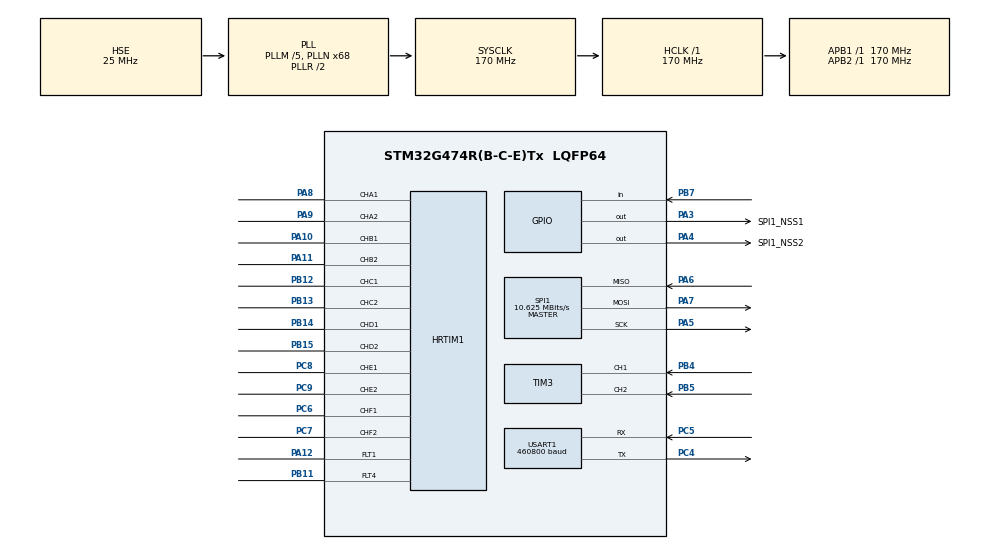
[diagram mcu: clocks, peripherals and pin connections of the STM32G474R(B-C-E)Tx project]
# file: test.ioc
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Dma.Request0=SPI1_RX
Dma.Request1=SPI1_TX
Dma.Request2=USART1_RX
Dma.Request3=USART1_TX
Dma.SPI1_RX.0.Direction=DMA_PERIPH_TO_MEMORY
Dma.SPI1_RX.0.EventEnable=DISABLE
Dma.SPI1_RX.0.Instance=DMA1_Channel1
Dma.SPI1_RX.0.MemDataAlignment=DMA_MDATAALIGN_BYTE
Dma.SPI1_RX.0.MemInc=DMA_MINC_ENABLE
Dma.SPI1_RX.0.Mode=DMA_NORMAL
Dma.SPI1_RX.0.PeriphDataAlignment=DMA_PDATAALIGN_BYTE
Dma.SPI1_RX.0.PeriphInc=DMA_PINC_DISABLE
Dma.SPI1_RX.0.Polarity=HAL_DMAMUX_REQ_GEN_RISING
Dma.SPI1_RX.0.Priority=DMA_PRIORITY_MEDIUM
Dma.SPI1_RX.0.RequestNumber=1
Dma.SPI1_RX.0.SignalID=NONE
Dma.SPI1_RX.0.SyncEnable=DISABLE
Dma.SPI1_RX.0.SyncPolarity=HAL_DMAMUX_SYNC_NO_EVENT
Dma.SPI1_RX.0.SyncRequestNumber=1
Dma.SPI1_RX.0.SyncSignalID=NONE
Dma.SPI1_TX.1.Direction=DMA_MEMORY_TO_PERIPH
Dma.SPI1_TX.1.EventEnable=DISABLE
Dma.SPI1_TX.1.Instance=DMA1_Channel2
Dma.SPI1_TX.1.MemDataAlignment=DMA_MDATAALIGN_BYTE
Dma.SPI1_TX.1.MemInc=DMA_MINC_ENABLE
Dma.SPI1_TX.1.Mode=DMA_NORMAL
Dma.SPI1_TX.1.PeriphDataAlignment=DMA_PDATAALIGN_BYTE
Dma.SPI1_TX.1.PeriphInc=DMA_PINC_DISABLE
Dma.SPI1_TX.1.Polarity=HAL_DMAMUX_REQ_GEN_RISING
Dma.SPI1_TX.1.Priority=DMA_PRIORITY_MEDIUM
Dma.SPI1_TX.1.RequestNumber=1
Dma.SPI1_TX.1.SignalID=NONE
Dma.SPI1_TX.1.SyncEnable=DISABLE
Dma.SPI1_TX.1.SyncPolarity=HAL_DMAMUX_SYNC_NO_EVENT
Dma.SPI1_TX.1.SyncRequestNumber=1
Dma.SPI1_TX.1.SyncSignalID=NONE
Dma.USART1_RX.2.Direction=DMA_PERIPH_TO_MEMORY
Dma.USART1_RX.2.EventEnable=DISABLE
Dma.USART1_RX.2.Instance=DMA1_Channel4
Dma.USART1_RX.2.MemDataAlignment=DMA_MDATAALIGN_BYTE
Dma.USART1_RX.2.MemInc=DMA_MINC_ENABLE
Dma.USART1_RX.2.Mode=DMA_NORMAL
Dma.USART1_RX.2.PeriphDataAlignment=DMA_PDATAALIGN_BYTE
Dma.USART1_RX.2.PeriphInc=DMA_PINC_DISABLE
Dma.USART1_RX.2.Polarity=HAL_DMAMUX_REQ_GEN_RISING
Dma.USART1_RX.2.Priority=DMA_PRIORITY_LOW
Dma.USART1_RX.2.RequestNumber=1
Dma.USART1_RX.2.SignalID=NONE
Dma.USART1_RX.2.SyncEnable=DISABLE
Dma.USART1_RX.2.SyncPolarity=HAL_DMAMUX_SYNC_NO_EVENT
Dma.USART1_RX.2.SyncRequestNumber=1
Dma.USART1_RX.2.SyncSignalID=NONE
Dma.USART1_TX.3.Direction=DMA_MEMORY_TO_PERIPH
Dma.USART1_TX.3.EventEnable=DISABLE
Dma.USART1_TX.3.Instance=DMA1_Channel5
Dma.USART1_TX.3.MemDataAlignment=DMA_MDATAALIGN_BYTE
Dma.USART1_TX.3.MemInc=DMA_MINC_ENABLE
Dma.USART1_TX.3.Mode=DMA_NORMAL
Dma.USART1_TX.3.PeriphDataAlignment=DMA_PDATAALIGN_BYTE
Dma.USART1_TX.3.PeriphInc=DMA_PINC_DISABLE
Dma.USART1_TX.3.Polarity=HAL_DMAMUX_REQ_GEN_RISING
Dma.USART1_TX.3.Priority=DMA_PRIORITY_LOW
Dma.USART1_TX.3.RequestNumber=1
Dma.USART1_TX.3.SignalID=NONE
Dma.USART1_TX.3.SyncEnable=DISABLE
Dma.USART1_TX.3.SyncPolarity=HAL_DMAMUX_SYNC_NO_EVENT
Dma.USART1_TX.3.SyncRequestNumber=1
Dma.USART1_TX.3.SyncSignalID=NONE
HRTIM1.CompareUnit1-Output_TA1TA2=HRTIM_COMPAREUNIT_1
HRTIM1.CompareUnit1-Output_TB1TB2=HRTIM_COMPAREUNIT_1
HRTIM1.CompareUnit1-Output_TC1TC2=HRTIM_COMPAREUNIT_1
HRTIM1.CompareUnit1-Output_TD1TD2=HRTIM_COMPAREUNIT_1
HRTIM1.CompareUnit1-Output_TE1TE2=HRTIM_COMPAREUNIT_1
HRTIM1.CompareUnit1-Output_TF1TF2=HRTIM_COMPAREUNIT_1
HRTIM1.DeadTimeInsertion-Output_TA1TA2=HRTIM_TIMDEADTIMEINSERTION_ENABLED
HRTIM1.DeadTimeInsertion-Output_TB1TB2=HRTIM_TIMDEADTIMEINSERTION_ENABLED
HRTIM1.DeadTimeInsertion-Output_TC1TC2=HRTIM_TIMDEADTIMEINSERTION_ENABLED
HRTIM1.DeadTimeInsertion-Output_TD1TD2=HRTIM_TIMDEADTIMEINSERTION_ENABLED
HRTIM1.DeadTimeInsertion-Output_TE1TE2=HRTIM_TIMDEADTIMEINSERTION_ENABLED
HRTIM1.DeadTimeInsertion-Output_TF1TF2=HRTIM_TIMDEADTIMEINSERTION_ENABLED
HRTIM1.Deadtimeconfig-Output_TB1TB2=HRTIM_TIMERINDEX_TIMER_B
HRTIM1.FallingValue-Output_TA1TA2=272
HRTIM1.FallingValue-Output_TB1TB2=272
HRTIM1.FallingValue-Output_TC1TC2=272
HRTIM1.FallingValue-Output_TD1TD2=272
HRTIM1.FallingValue-Output_TE1TE2=272
HRTIM1.FallingValue-Output_TF1TF2=272
HRTIM1.NumberResetSource1-Output_TA1TA2=1
HRTIM1.NumberResetSource1-Output_TB1TB2=1
HRTIM1.NumberResetSource1-Output_TC1TC2=1
HRTIM1.NumberResetSource1-Output_TD1TD2=1
HRTIM1.NumberResetSource1-Output_TE1TE2=1
HRTIM1.NumberResetSource1-Output_TF1TF2=1
HRTIM1.NumberSetSource1-Output_TA1TA2=1
HRTIM1.NumberSetSource1-Output_TB1TB2=1
HRTIM1.NumberSetSource1-Output_TC1TC2=1
HRTIM1.NumberSetSource1-Output_TD1TD2=1
HRTIM1.NumberSetSource1-Output_TE1TE2=1
HRTIM1.NumberSetSource1-Output_TF1TF2=1
HRTIM1.Periode_TA=34000
HRTIM1.Periode_TB=34000
HRTIM1.Periode_TC=34000
HRTIM1.Periode_TD=34000
HRTIM1.Periode_TE=34000
HRTIM1.Periode_TF=34000
HRTIM1.PreloadEnable-Output_TA1TA2=HRTIM_PRELOAD_ENABLED
HRTIM1.PreloadEnable-Output_TB1TB2=HRTIM_PRELOAD_ENABLED
HRTIM1.PreloadEnable-Output_TC1TC2=HRTIM_PRELOAD_ENABLED
HRTIM1.PreloadEnable-Output_TD1TD2=HRTIM_PRELOAD_ENABLED
HRTIM1.PreloadEnable-Output_TE1TE2=HRTIM_PRELOAD_ENABLED
HRTIM1.PreloadEnable-Output_TF1TF2=HRTIM_PRELOAD_ENABLED
HRTIM1.PrescalerRatio_TA=HRTIM_PRESCALERRATIO_MUL4
HRTIM1.PrescalerRatio_TB=HRTIM_PRESCALERRATIO_MUL4
HRTIM1.PrescalerRatio_TC=HRTIM_PRESCALERRATIO_MUL4
HRTIM1.PrescalerRatio_TD=HRTIM_PRESCALERRATIO_MUL4
HRTIM1.PrescalerRatio_TE=HRTIM_PRESCALERRATIO_MUL4
HRTIM1.PrescalerRatio_TF=HRTIM_PRESCALERRATIO_MUL4
HRTIM1.RepetitionUpdate-Output_TA1TA2=HRTIM_UPDATEONREPETITION_ENABLED
HRTIM1.RepetitionUpdate-Output_TB1TB2=HRTIM_UPDATEONREPETITION_ENABLED
HRTIM1.RepetitionUpdate-Output_TC1TC2=HRTIM_UPDATEONREPETITION_ENABLED
HRTIM1.RepetitionUpdate-Output_TD1TD2=HRTIM_UPDATEONREPETITION_ENABLED
HRTIM1.RepetitionUpdate-Output_TE1TE2=HRTIM_UPDATEONREPETITION_ENABLED
HRTIM1.RepetitionUpdate-Output_TF1TF2=HRTIM_UPDATEONREPETITION_ENABLED
HRTIM1.ResetOutput1_Source1-Output_TA1TA2=HRTIM_OUTPUTRESET_TIMCMP1
HRTIM1.ResetOutput1_Source1-Output_TB1TB2=HRTIM_OUTPUTRESET_TIMCMP1
HRTIM1.ResetOutput1_Source1-Output_TC1TC2=HRTIM_OUTPUTRESET_TIMCMP1
HRTIM1.ResetOutput1_Source1-Output_TD1TD2=HRTIM_OUTPUTRESET_TIMCMP1
HRTIM1.ResetOutput1_Source1-Output_TE1TE2=HRTIM_OUTPUTRESET_TIMCMP1
HRTIM1.ResetOutput1_Source1-Output_TF1TF2=HRTIM_OUTPUTRESET_TIMCMP1
HRTIM1.RisingValue-Output_TA1TA2=272
HRTIM1.RisingValue-Output_TB1TB2=272
HRTIM1.RisingValue-Output_TC1TC2=272
HRTIM1.RisingValue-Output_TD1TD2=272
HRTIM1.RisingValue-Output_TE1TE2=272
HRTIM1.RisingValue-Output_TF1TF2=272
HRTIM1.SetOutput1_Source1-Output_TA1TA2=HRTIM_OUTPUTSET_TIMPER
HRTIM1.SetOutput1_Source1-Output_TB1TB2=HRTIM_OUTPUTSET_TIMPER
HRTIM1.SetOutput1_Source1-Output_TC1TC2=HRTIM_OUTPUTSET_TIMPER
HRTIM1.SetOutput1_Source1-Output_TD1TD2=HRTIM_OUTPUTSET_TIMPER
HRTIM1.SetOutput1_Source1-Output_TE1TE2=HRTIM_OUTPUTSET_TIMPER
HRTIM1.SetOutput1_Source1-Output_TF1TF2=HRTIM_OUTPUTSET_TIMPER
Mcu.Family=STM32G4
Mcu.Name=STM32G474R(B-C-E)Tx
Mcu.Package=LQFP64
NVIC.DMA1_Channel1_IRQn=true\:0\:0\:false\:false\:true\:false\:true\:true
NVIC.DMA1_Channel2_IRQn=true\:0\:0\:false\:false\:true\:false\:true\:true
NVIC.DMA1_Channel4_IRQn=true\:9\:0\:true\:false\:true\:false\:true\:true
NVIC.DMA1_Channel5_IRQn=true\:9\:0\:true\:false\:true\:false\:true\:true
NVIC.HRTIM1_TIMA_IRQn=true\:0\:0\:false\:false\:true\:true\:true\:true
NVIC.HRTIM1_TIMD_IRQn=true\:0\:0\:false\:false\:true\:true\:true\:true
NVIC.PriorityGroup=NVIC_PRIORITYGROUP_4
NVIC.TIM1_TRG_COM_TIM17_IRQn=true\:1\:0\:true\:false\:true\:true\:true\:true
NVIC.TIM3_IRQn=true\:5\:0\:true\:false\:true\:true\:true\:true
NVIC.TIM8_UP_IRQn=true\:10\:0\:true\:false\:true\:true\:true\:true
NVIC.USART1_IRQn=true\:6\:0\:true\:false\:true\:true\:true\:true
PA10.Mode=Output_TB1TB2
PA10.Signal=HRTIM1_CHB1
PA11.Mode=Output_TB1TB2
PA11.Signal=HRTIM1_CHB2
PA12.Mode=Fault_Enable1
PA12.Signal=HRTIM1_FLT1
PA3.GPIO_Label=SPI1_NSS1
PA3.GPIO_PuPd=GPIO_PULLUP
PA3.Signal=GPIO_Output
PA4.GPIO_Label=SPI1_NSS2
PA4.GPIO_PuPd=GPIO_PULLUP
PA4.Signal=GPIO_Output
PA5.Mode=Full_Duplex_Master
PA5.Signal=SPI1_SCK
PA6.Mode=Full_Duplex_Master
PA6.Signal=SPI1_MISO
PA7.Mode=Full_Duplex_Master
PA7.Signal=SPI1_MOSI
PA8.Mode=Output_TA1TA2
PA8.Signal=HRTIM1_CHA1
PA9.Mode=Output_TA1TA2
PA9.Signal=HRTIM1_CHA2
PB11.Mode=Fault_Enable4
PB11.Signal=HRTIM1_FLT4
PB12.Mode=Output_TC1TC2
PB12.Signal=HRTIM1_CHC1
PB13.Mode=Output_TC1TC2
PB13.Signal=HRTIM1_CHC2
PB14.Mode=Output_TD1TD2
PB14.Signal=HRTIM1_CHD1
PB15.Mode=Output_TD1TD2
PB15.Signal=HRTIM1_CHD2
PB4.Signal=S_TIM3_CH1
PB5.Signal=S_TIM3_CH2
PB7.GPIO_PuPd=GPIO_PULLUP
PB7.Signal=GPIO_Input
PC4.Mode=Asynchronous
PC4.Signal=USART1_TX
PC5.Mode=Asynchronous
PC5.Signal=USART1_RX
PC6.Mode=Output_TF1TF2
PC6.Signal=HRTIM1_CHF1
PC7.Mode=Output_TF1TF2
PC7.Signal=HRTIM1_CHF2
PC8.Mode=Output_TE1TE2
PC8.Signal=HRTIM1_CHE1
PC9.Mode=Output_TE1TE2
PC9.Signal=HRTIM1_CHE2
PF0-OSC_IN.Mode=HSE-External-Oscillator
PF0-OSC_IN.Signal=RCC_OSC_IN
PF1-OSC_OUT.Mode=HSE-External-Oscillator
PF1-OSC_OUT.Signal=RCC_OSC_OUT
ProjectManager.HeapSize=0x200
ProjectManager.StackSize=0x400
ProjectManager.TargetToolchain=MDK-ARM V5.32
RCC.ADC12Freq_Value=170000000
RCC.ADC345Freq_Value=170000000
RCC.AHBFreq_Value=170000000
RCC.APB1Freq_Value=170000000
RCC.APB1TimFreq_Value=170000000
RCC.APB2Freq_Value=170000000
RCC.APB2TimFreq_Value=170000000
RCC.CortexFreq_Value=170000000
RCC.EXTERNAL_CLOCK_VALUE=12288000
RCC.HCLKFreq_Value=170000000
RCC.HSE_VALUE=25000000
RCC.HSI48_VALUE=48000000
RCC.HSI_VALUE=16000000
RCC.LSE_VALUE=32768
RCC.PLLM=RCC_PLLM_DIV5
RCC.PLLN=68
RCC.PLLSourceVirtual=RCC_PLLSOURCE_HSE
RCC.SYSCLKFreq_VALUE=170000000
RCC.SYSCLKSource=RCC_SYSCLKSOURCE_PLLCLK
RCC.USART1CLockSelection=RCC_USART1CLKSOURCE_HSI
RCC.USBFreq_Value=170000000
RCC.VCOOutputFreq_Value=340000000
SH.S_TIM3_CH1.0=TIM3_CH1,Encoder_Interface
SH.S_TIM3_CH2.0=TIM3_CH2,Encoder_Interface
SPI1.BaudRatePrescaler=SPI_BAUDRATEPRESCALER_16
SPI1.CLKPhase=SPI_PHASE_2EDGE
SPI1.CLKPolarity=SPI_POLARITY_HIGH
SPI1.CalculateBaudRate=10.625 MBits/s
SPI1.DataSize=SPI_DATASIZE_8BIT
SPI1.Direction=SPI_DIRECTION_2LINES
SPI1.Mode=SPI_MODE_MASTER
SPI1.VirtualType=VM_MASTER
TIM17.AutoReloadPreload=TIM_AUTORELOAD_PRELOAD_DISABLE
TIM17.PeriodNoDither=999
TIM17.Prescaler=169
TIM8.PeriodNoDither=999
TIM8.Prescaler=15
USART1.BaudRate=460800
USART1.VirtualMode-Asynchronous=VM_ASYNC
USART1.WordLength=WORDLENGTH_8B
VP_CORDIC_VS_CORDIC.Mode=CORDIC_Activate
VP_HRTIM1_VS_hrtimMasterTimerNoOutput.Mode=MasterTimer
VP_SYS_VS_DBSignals.Mode=DisableDeadBatterySignals
VP_TIM17_VS_ClockSourceINT.Mode=Enable_Timer
VP_TIM8_VS_ClockSourceINT.Mode=Internal
board=custom

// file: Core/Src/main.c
/* USER CODE BEGIN Header */
/**
  ******************************************************************************
  * @file           : main.c
  * @brief          : Main program body
  ******************************************************************************
  * @attention
  *
  * Copyright (c) 2026 STMicroelectronics.
  * All rights reserved.
  *
  * This software is licensed under terms that can be found in the LICENSE file
  * in the root directory of this software component.
  * If no LICENSE file comes with this software, it is provided AS-IS.
  *
  ******************************************************************************
  */
/* USER CODE END Header */
#include "main.h"

/* USER CODE BEGIN Includes */
#include <stdio.h>
#include "mt6826.h"
#include "motor.h"
#include "spwm.h"
#include "ui.h"
/* USER CODE END Includes */

CORDIC_HandleTypeDef hcordic;

HRTIM_HandleTypeDef hhrtim1;

SPI_HandleTypeDef hspi1;
DMA_HandleTypeDef hdma_spi1_rx;
DMA_HandleTypeDef hdma_spi1_tx;

TIM_HandleTypeDef htim3;
TIM_HandleTypeDef htim8;
TIM_HandleTypeDef htim17;

UART_HandleTypeDef huart1;
DMA_HandleTypeDef hdma_usart1_rx;
DMA_HandleTypeDef hdma_usart1_tx;

/* USER CODE BEGIN PV */
static uint8_t          uart_buf[64];    /* UART 发送缓冲（保留备用） */
MT6826_HandleTypeDef    hencoder1;       /* 电机1编码器句柄 */
MT6826_HandleTypeDef    hencoder2;       /* 电机2编码器句柄 */
Motor_HandleTypeDef     hmotor1;         /* 电机1驱动句柄   */
Motor_HandleTypeDef     hmotor2;         /* 电机2驱动句柄   */
SPWM_HandleTypeDef      hspwm1;          /* 电机1位置环句柄 */
SPWM_HandleTypeDef      hspwm2;          /* 电机2位置环句柄 */
UI_HandleTypeDef        hui;             /* UI 参数调节句柄 */

static const Motor_TimerConfigTypeDef motor1_timing = {
  HRTIM_TIMERINDEX_TIMER_A,
  { HRTIM_TIMERINDEX_TIMER_A, HRTIM_TIMERINDEX_TIMER_B, HRTIM_TIMERINDEX_TIMER_E },
  HRTIM_OUTPUT_TA1 | HRTIM_OUTPUT_TA2 |
  HRTIM_OUTPUT_TB1 | HRTIM_OUTPUT_TB2 |
  HRTIM_OUTPUT_TE1 | HRTIM_OUTPUT_TE2,
  HRTIM_TIMERID_TIMER_A | HRTIM_TIMERID_TIMER_B | HRTIM_TIMERID_TIMER_E
};

static const Motor_TimerConfigTypeDef motor2_timing = {
  HRTIM_TIMERINDEX_TIMER_D,
  { HRTIM_TIMERINDEX_TIMER_D, HRTIM_TIMERINDEX_TIMER_F, HRTIM_TIMERINDEX_TIMER_C },
  HRTIM_OUTPUT_TF1 | HRTIM_OUTPUT_TF2 |
  HRTIM_OUTPUT_TD1 | HRTIM_OUTPUT_TD2 |
  HRTIM_OUTPUT_TC1 | HRTIM_OUTPUT_TC2,
  HRTIM_TIMERID_TIMER_F | HRTIM_TIMERID_TIMER_D | HRTIM_TIMERID_TIMER_C
};

static MT6826_HandleTypeDef *g_spi1_dma_owner = NULL;
static uint8_t g_spi1_dma_rr_next = 0u;
/* USER CODE END PV */

void SystemClock_Config(void);
static void MX_GPIO_Init(void);
static void MX_DMA_Init(void);
static void MX_USART1_UART_Init(void);
static void MX_HRTIM1_Init(void);
static void MX_SPI1_Init(void);
static void MX_CORDIC_Init(void);
static void MX_TIM17_Init(void);
static void MX_TIM3_Init(void);
static void MX_TIM8_Init(void);
/* USER CODE BEGIN PFP */
static void Encoder_ServicePendingSpi1Dma(void);
static void Encoder_RequestRead(MT6826_HandleTypeDef *hencoder);
/* USER CODE END PFP */

/* USER CODE BEGIN 0 */
static void Encoder_ServicePendingSpi1Dma(void)
{
  uint8_t idx;

  if (g_spi1_dma_owner != NULL)
  {
    return;
  }

  for (idx = 0u; idx < 2u; idx++)
  {
    uint8_t slot = (uint8_t)((g_spi1_dma_rr_next + idx) & 0x01u);
    MT6826_HandleTypeDef *candidate = (slot == 0u) ? &hencoder1 : &hencoder2;

    if ((candidate->read_pending != 0u) && (candidate->dma_done != 0u))
    {
      g_spi1_dma_owner = candidate;
      g_spi1_dma_rr_next = (uint8_t)((slot + 1u) & 0x01u);
      MT6826_StartDMARead(candidate);
      return;
    }
  }
}

static void Encoder_RequestRead(MT6826_HandleTypeDef *hencoder)
{
  if ((hencoder == NULL) || (hencoder->read_pending != 0u) || (hencoder->dma_done == 0u))
  {
    return;
  }

  hencoder->read_pending = 1u;
  Encoder_ServicePendingSpi1Dma();
}
/* USER CODE END 0 */

int main(void)
{

  /* MCU Configuration--------------------------------------------------------*/

  /* Reset of all peripherals, Initializes the Flash interface and the Systick. */
  HAL_Init();

  /* Configure the system clock */
  SystemClock_Config();

  /* Initialize all configured peripherals */
  MX_GPIO_Init();
  MX_DMA_Init();
  MX_USART1_UART_Init();
  MX_HRTIM1_Init();
  MX_SPI1_Init();
  MX_CORDIC_Init();
  MX_TIM17_Init();
  MX_TIM3_Init();
  MX_TIM8_Init();
  /* USER CODE BEGIN 2 */
  /* 两个编码器的 NSS 空闲拉高 */
  HAL_GPIO_WritePin(SPI1_NSS1_GPIO_Port, SPI1_NSS1_Pin, GPIO_PIN_SET);
  HAL_GPIO_WritePin(SPI1_NSS2_GPIO_Port, SPI1_NSS2_Pin, GPIO_PIN_SET);

  /* 初始化两路 MT6826S 编码器模块 */
  MT6826_Init(&hencoder1, &hspi1, SPI1_NSS1_GPIO_Port, SPI1_NSS1_Pin);
  MT6826_Init(&hencoder2, &hspi1, SPI1_NSS2_GPIO_Port, SPI1_NSS2_Pin);
  HAL_Delay(10u);

  /* 初始化双电机底层 HRTIM+CORDIC */
  Motor_Init(&hmotor1, &hhrtim1, &hcordic, &hencoder1, &motor1_timing);
  Motor_Init(&hmotor2, &hhrtim1, &hcordic, &hencoder2, &motor2_timing);

  /* 初始化双电机 SPWM 位置环（先初始化再进行对齐） */
  SPWM_Init(&hspwm1, &hmotor1, &htim17);
  SPWM_Init(&hspwm2, &hmotor2, &htim17);
  SPWM_SetPID(&hspwm1, 0.02f, 0.0002f, 0.0f);
  SPWM_SetPID(&hspwm2, 0.02f, 0.0002f, 0.0f);

	/* d轴对齐: 施加直轴电流使电机转至电角度0°, 标定编码器偏移 */
  SPWM_AlignToZero(&hspwm1);
  SPWM_AlignToZero(&hspwm2);

//	/*电机匀速旋转测试*/
//	Motor_SetModulation(&hmotor1,0.5f);
//	Motor_Start(&hmotor1);

  /* 启动双电机闭环位置控制, 目标角度 0° */
  SPWM_SetTarget(&hspwm1, 0.0f);
  SPWM_SetTarget(&hspwm2, 0.0f);
  SPWM_Start(&hspwm1);
  SPWM_Start(&hspwm2);

  /* 初始化 UI: 旋钮(TIM3) + 按钮(PB7) + FireWater 串口流(TIM8) */
  UI_Init(&hui, &hspwm1, &huart1, &htim3, &htim8);
  /* USER CODE END 2 */

  /* Infinite loop */
  while (1)
  {

    /* USER CODE BEGIN 3 */
    /* 串口输出和角度数据均由 TIM8 中断驱动 (UI_TIM8Callback)，
     * 主循环只需轮询编码器增量和按键消抖。                        */
    UI_Poll(&hui);
  }
  /* USER CODE END 3 */
}

void SystemClock_Config(void)
{
  RCC_OscInitTypeDef RCC_OscInitStruct = {0};
  RCC_ClkInitTypeDef RCC_ClkInitStruct = {0};

  /** Configure the main internal regulator output voltage
  */
  HAL_PWREx_ControlVoltageScaling(PWR_REGULATOR_VOLTAGE_SCALE1_BOOST);

  /** Initializes the RCC Oscillators according to the specified parameters
  * in the RCC_OscInitTypeDef structure.
  */
  RCC_OscInitStruct.OscillatorType = RCC_OSCILLATORTYPE_HSI|RCC_OSCILLATORTYPE_HSE;
  RCC_OscInitStruct.HSEState = RCC_HSE_ON;
  RCC_OscInitStruct.HSIState = RCC_HSI_ON;
  RCC_OscInitStruct.HSICalibrationValue = RCC_HSICALIBRATION_DEFAULT;
  RCC_OscInitStruct.PLL.PLLState = RCC_PLL_ON;
  RCC_OscInitStruct.PLL.PLLSource = RCC_PLLSOURCE_HSE;
  RCC_OscInitStruct.PLL.PLLM = RCC_PLLM_DIV5;
  RCC_OscInitStruct.PLL.PLLN = 68;
  RCC_OscInitStruct.PLL.PLLP = RCC_PLLP_DIV2;
  RCC_OscInitStruct.PLL.PLLQ = RCC_PLLQ_DIV2;
  RCC_OscInitStruct.PLL.PLLR = RCC_PLLR_DIV2;
  if (HAL_RCC_OscConfig(&RCC_OscInitStruct) != HAL_OK)
  {
    Error_Handler();
  }

  /** Initializes the CPU, AHB and APB buses clocks
  */
  RCC_ClkInitStruct.ClockType = RCC_CLOCKTYPE_HCLK|RCC_CLOCKTYPE_SYSCLK
                              |RCC_CLOCKTYPE_PCLK1|RCC_CLOCKTYPE_PCLK2;
  RCC_ClkInitStruct.SYSCLKSource = RCC_SYSCLKSOURCE_PLLCLK;
  RCC_ClkInitStruct.AHBCLKDivider = RCC_SYSCLK_DIV1;
  RCC_ClkInitStruct.APB1CLKDivider = RCC_HCLK_DIV1;
  RCC_ClkInitStruct.APB2CLKDivider = RCC_HCLK_DIV1;

  if (HAL_RCC_ClockConfig(&RCC_ClkInitStruct, FLASH_LATENCY_4) != HAL_OK)
  {
    Error_Handler();
  }
}

static void MX_CORDIC_Init(void)
{

  hcordic.Instance = CORDIC;
  if (HAL_CORDIC_Init(&hcordic) != HAL_OK)
  {
    Error_Handler();
  }

}

static void MX_HRTIM1_Init(void)
{

  HRTIM_FaultCfgTypeDef pFaultCfg = {0};
  HRTIM_FaultBlankingCfgTypeDef pFaultBlkCfg = {0};
  HRTIM_TimeBaseCfgTypeDef pTimeBaseCfg = {0};
  HRTIM_TimerCfgTypeDef pTimerCfg = {0};
  HRTIM_TimerCtlTypeDef pTimerCtl = {0};
  HRTIM_CompareCfgTypeDef pCompareCfg = {0};
  HRTIM_DeadTimeCfgTypeDef pDeadTimeCfg = {0};
  HRTIM_OutputCfgTypeDef pOutputCfg = {0};

  hhrtim1.Instance = HRTIM1;
  hhrtim1.Init.HRTIMInterruptResquests = HRTIM_IT_NONE;
  hhrtim1.Init.SyncOptions = HRTIM_SYNCOPTION_NONE;
  if (HAL_HRTIM_Init(&hhrtim1) != HAL_OK)
  {
    Error_Handler();
  }
  if (HAL_HRTIM_DLLCalibrationStart(&hhrtim1, HRTIM_CALIBRATIONRATE_3) != HAL_OK)
  {
    Error_Handler();
  }
  if (HAL_HRTIM_PollForDLLCalibration(&hhrtim1, 10) != HAL_OK)
  {
    Error_Handler();
  }
  if (HAL_HRTIM_FaultPrescalerConfig(&hhrtim1, HRTIM_FAULTPRESCALER_DIV1) != HAL_OK)
  {
    Error_Handler();
  }
  pFaultCfg.Source = HRTIM_FAULTSOURCE_DIGITALINPUT;
  pFaultCfg.Polarity = HRTIM_FAULTPOLARITY_HIGH;
  pFaultCfg.Filter = HRTIM_FAULTFILTER_NONE;
  pFaultCfg.Lock = HRTIM_FAULTLOCK_READWRITE;
  if (HAL_HRTIM_FaultConfig(&hhrtim1, HRTIM_FAULT_1, &pFaultCfg) != HAL_OK)
  {
    Error_Handler();
  }
  pFaultBlkCfg.Threshold = 0;
  pFaultBlkCfg.ResetMode = HRTIM_FAULTCOUNTERRST_UNCONDITIONAL;
  pFaultBlkCfg.BlankingSource = HRTIM_FAULTBLANKINGMODE_RSTALIGNED;
  if (HAL_HRTIM_FaultCounterConfig(&hhrtim1, HRTIM_FAULT_1, &pFaultBlkCfg) != HAL_OK)
  {
    Error_Handler();
  }
  if (HAL_HRTIM_FaultBlankingConfigAndEnable(&hhrtim1, HRTIM_FAULT_1, &pFaultBlkCfg) != HAL_OK)
  {
    Error_Handler();
  }
  HAL_HRTIM_FaultModeCtl(&hhrtim1, HRTIM_FAULT_1, HRTIM_FAULTMODECTL_ENABLED);
  if (HAL_HRTIM_FaultCounterConfig(&hhrtim1, HRTIM_FAULT_4, &pFaultBlkCfg) != HAL_OK)
  {
    Error_Handler();
  }
  if (HAL_HRTIM_FaultBlankingConfigAndEnable(&hhrtim1, HRTIM_FAULT_4, &pFaultBlkCfg) != HAL_OK)
  {
    Error_Handler();
  }
  if (HAL_HRTIM_FaultConfig(&hhrtim1, HRTIM_FAULT_4, &pFaultCfg) != HAL_OK)
  {
    Error_Handler();
  }
  HAL_HRTIM_FaultModeCtl(&hhrtim1, HRTIM_FAULT_4, HRTIM_FAULTMODECTL_ENABLED);
  pTimeBaseCfg.Period = 0xFFDF;
  pTimeBaseCfg.RepetitionCounter = 0x00;
  pTimeBaseCfg.PrescalerRatio = HRTIM_PRESCALERRATIO_MUL32;
  pTimeBaseCfg.Mode = HRTIM_MODE_CONTINUOUS;
  if (HAL_HRTIM_TimeBaseConfig(&hhrtim1, HRTIM_TIMERINDEX_MASTER, &pTimeBaseCfg) != HAL_OK)
  {
    Error_Handler();
  }
  pTimerCfg.InterruptRequests = HRTIM_MASTER_IT_NONE;
  pTimerCfg.DMARequests = HRTIM_MASTER_DMA_NONE;
  pTimerCfg.DMASrcAddress = 0x0000;
  pTimerCfg.DMADstAddress = 0x0000;
  pTimerCfg.DMASize = 0x1;
  pTimerCfg.HalfModeEnable = HRTIM_HALFMODE_DISABLED;
  pTimerCfg.InterleavedMode = HRTIM_INTERLEAVED_MODE_DISABLED;
  pTimerCfg.StartOnSync = HRTIM_SYNCSTART_DISABLED;
  pTimerCfg.ResetOnSync = HRTIM_SYNCRESET_DISABLED;
  pTimerCfg.DACSynchro = HRTIM_DACSYNC_NONE;
  pTimerCfg.PreloadEnable = HRTIM_PRELOAD_DISABLED;
  pTimerCfg.UpdateGating = HRTIM_UPDATEGATING_INDEPENDENT;
  pTimerCfg.BurstMode = HRTIM_TIMERBURSTMODE_MAINTAINCLOCK;
  pTimerCfg.RepetitionUpdate = HRTIM_UPDATEONREPETITION_DISABLED;
  pTimerCfg.ReSyncUpdate = HRTIM_TIMERESYNC_UPDATE_UNCONDITIONAL;
  if (HAL_HRTIM_WaveformTimerConfig(&hhrtim1, HRTIM_TIMERINDEX_MASTER, &pTimerCfg) != HAL_OK)
  {
    Error_Handler();
  }
  pTimeBaseCfg.Period = 34000;
  pTimeBaseCfg.PrescalerRatio = HRTIM_PRESCALERRATIO_MUL4;
  if (HAL_HRTIM_TimeBaseConfig(&hhrtim1, HRTIM_TIMERINDEX_TIMER_A, &pTimeBaseCfg) != HAL_OK)
  {
    Error_Handler();
  }
  pTimerCtl.UpDownMode = HRTIM_TIMERUPDOWNMODE_UP;
  pTimerCtl.GreaterCMP1 = HRTIM_TIMERGTCMP1_EQUAL;
  pTimerCtl.DualChannelDacEnable = HRTIM_TIMER_DCDE_DISABLED;
  if (HAL_HRTIM_WaveformTimerControl(&hhrtim1, HRTIM_TIMERINDEX_TIMER_A, &pTimerCtl) != HAL_OK)
  {
    Error_Handler();
  }
  pTimerCfg.InterruptRequests = HRTIM_TIM_IT_NONE;
  pTimerCfg.DMARequests = HRTIM_TIM_DMA_NONE;
  pTimerCfg.PreloadEnable = HRTIM_PRELOAD_ENABLED;
  pTimerCfg.RepetitionUpdate = HRTIM_UPDATEONREPETITION_ENABLED;
  pTimerCfg.PushPull = HRTIM_TIMPUSHPULLMODE_DISABLED;
  pTimerCfg.FaultEnable = HRTIM_TIMFAULTENABLE_NONE;
  pTimerCfg.FaultLock = HRTIM_TIMFAULTLOCK_READWRITE;
  pTimerCfg.DeadTimeInsertion = HRTIM_TIMDEADTIMEINSERTION_ENABLED;
  pTimerCfg.DelayedProtectionMode = HRTIM_TIMER_A_B_C_DELAYEDPROTECTION_DISABLED;
  pTimerCfg.UpdateTrigger = HRTIM_TIMUPDATETRIGGER_NONE;
  pTimerCfg.ResetTrigger = HRTIM_TIMRESETTRIGGER_NONE;
  pTimerCfg.ResetUpdate = HRTIM_TIMUPDATEONRESET_DISABLED;
  if (HAL_HRTIM_WaveformTimerConfig(&hhrtim1, HRTIM_TIMERINDEX_TIMER_A, &pTimerCfg) != HAL_OK)
  {
    Error_Handler();
  }
  if (HAL_HRTIM_WaveformTimerConfig(&hhrtim1, HRTIM_TIMERINDEX_TIMER_B, &pTimerCfg) != HAL_OK)
  {
    Error_Handler();
  }
  if (HAL_HRTIM_WaveformTimerConfig(&hhrtim1, HRTIM_TIMERINDEX_TIMER_C, &pTimerCfg) != HAL_OK)
  {
    Error_Handler();
  }
  pTimerCfg.DelayedProtectionMode = HRTIM_TIMER_D_E_DELAYEDPROTECTION_DISABLED;
  if (HAL_HRTIM_WaveformTimerConfig(&hhrtim1, HRTIM_TIMERINDEX_TIMER_D, &pTimerCfg) != HAL_OK)
  {
    Error_Handler();
  }
  if (HAL_HRTIM_WaveformTimerConfig(&hhrtim1, HRTIM_TIMERINDEX_TIMER_E, &pTimerCfg) != HAL_OK)
  {
    Error_Handler();
  }
  pTimerCfg.DelayedProtectionMode = HRTIM_TIMER_F_DELAYEDPROTECTION_DISABLED;
  if (HAL_HRTIM_WaveformTimerConfig(&hhrtim1, HRTIM_TIMERINDEX_TIMER_F, &pTimerCfg) != HAL_OK)
  {
    Error_Handler();
  }
  pCompareCfg.CompareValue = 0xFFFB;
  if (HAL_HRTIM_WaveformCompareConfig(&hhrtim1, HRTIM_TIMERINDEX_TIMER_A, HRTIM_COMPAREUNIT_1, &pCompareCfg) != HAL_OK)
  {
    Error_Handler();
  }
  pDeadTimeCfg.Prescaler = HRTIM_TIMDEADTIME_PRESCALERRATIO_MUL8;
  pDeadTimeCfg.RisingValue = 272;
  pDeadTimeCfg.RisingSign = HRTIM_TIMDEADTIME_RISINGSIGN_POSITIVE;
  pDeadTimeCfg.RisingLock = HRTIM_TIMDEADTIME_RISINGLOCK_WRITE;
  pDeadTimeCfg.RisingSignLock = HRTIM_TIMDEADTIME_RISINGSIGNLOCK_WRITE;
  pDeadTimeCfg.FallingValue = 272;
  pDeadTimeCfg.FallingSign = HRTIM_TIMDEADTIME_FALLINGSIGN_POSITIVE;
  pDeadTimeCfg.FallingLock = HRTIM_TIMDEADTIME_FALLINGLOCK_WRITE;
  pDeadTimeCfg.FallingSignLock = HRTIM_TIMDEADTIME_FALLINGSIGNLOCK_WRITE;
  if (HAL_HRTIM_DeadTimeConfig(&hhrtim1, HRTIM_TIMERINDEX_TIMER_A, &pDeadTimeCfg) != HAL_OK)
  {
    Error_Handler();
  }
  if (HAL_HRTIM_DeadTimeConfig(&hhrtim1, HRTIM_TIMERINDEX_TIMER_B, &pDeadTimeCfg) != HAL_OK)
  {
    Error_Handler();
  }
  if (HAL_HRTIM_DeadTimeConfig(&hhrtim1, HRTIM_TIMERINDEX_TIMER_C, &pDeadTimeCfg) != HAL_OK)
  {
    Error_Handler();
  }
  if (HAL_HRTIM_DeadTimeConfig(&hhrtim1, HRTIM_TIMERINDEX_TIMER_D, &pDeadTimeCfg) != HAL_OK)
  {
    Error_Handler();
  }
  if (HAL_HRTIM_DeadTimeConfig(&hhrtim1, HRTIM_TIMERINDEX_TIMER_E, &pDeadTimeCfg) != HAL_OK)
  {
    Error_Handler();
  }
  if (HAL_HRTIM_DeadTimeConfig(&hhrtim1, HRTIM_TIMERINDEX_TIMER_F, &pDeadTimeCfg) != HAL_OK)
  {
    Error_Handler();
  }
  pOutputCfg.Polarity = HRTIM_OUTPUTPOLARITY_HIGH;
  pOutputCfg.SetSource = HRTIM_OUTPUTSET_TIMPER;
  pOutputCfg.ResetSource = HRTIM_OUTPUTRESET_TIMCMP1;
  pOutputCfg.IdleMode = HRTIM_OUTPUTIDLEMODE_NONE;
  pOutputCfg.IdleLevel = HRTIM_OUTPUTIDLELEVEL_INACTIVE;
  pOutputCfg.FaultLevel = HRTIM_OUTPUTFAULTLEVEL_NONE;
  pOutputCfg.ChopperModeEnable = HRTIM_OUTPUTCHOPPERMODE_DISABLED;
  pOutputCfg.BurstModeEntryDelayed = HRTIM_OUTPUTBURSTMODEENTRY_REGULAR;
  if (HAL_HRTIM_WaveformOutputConfig(&hhrtim1, HRTIM_TIMERINDEX_TIMER_A, HRTIM_OUTPUT_TA1, &pOutputCfg) != HAL_OK)
  {
    Error_Handler();
  }
  if (HAL_HRTIM_WaveformOutputConfig(&hhrtim1, HRTIM_TIMERINDEX_TIMER_B, HRTIM_OUTPUT_TB1, &pOutputCfg) != HAL_OK)
  {
    Error_Handler();
  }
  if (HAL_HRTIM_WaveformOutputConfig(&hhrtim1, HRTIM_TIMERINDEX_TIMER_C, HRTIM_OUTPUT_TC1, &pOutputCfg) != HAL_OK)
  {
    Error_Handler();
  }
  if (HAL_HRTIM_WaveformOutputConfig(&hhrtim1, HRTIM_TIMERINDEX_TIMER_D, HRTIM_OUTPUT_TD1, &pOutputCfg) != HAL_OK)
  {
    Error_Handler();
  }
  if (HAL_HRTIM_WaveformOutputConfig(&hhrtim1, HRTIM_TIMERINDEX_TIMER_E, HRTIM_OUTPUT_TE1, &pOutputCfg) != HAL_OK)
  {
    Error_Handler();
  }
  if (HAL_HRTIM_WaveformOutputConfig(&hhrtim1, HRTIM_TIMERINDEX_TIMER_F, HRTIM_OUTPUT_TF1, &pOutputCfg) != HAL_OK)
  {
    Error_Handler();
  }
  pOutputCfg.SetSource = HRTIM_OUTPUTSET_NONE;
  pOutputCfg.ResetSource = HRTIM_OUTPUTRESET_NONE;
  if (HAL_HRTIM_WaveformOutputConfig(&hhrtim1, HRTIM_TIMERINDEX_TIMER_A, HRTIM_OUTPUT_TA2, &pOutputCfg) != HAL_OK)
  {
    Error_Handler();
  }
  if (HAL_HRTIM_WaveformOutputConfig(&hhrtim1, HRTIM_TIMERINDEX_TIMER_B, HRTIM_OUTPUT_TB2, &pOutputCfg) != HAL_OK)
  {
    Error_Handler();
  }
  if (HAL_HRTIM_WaveformOutputConfig(&hhrtim1, HRTIM_TIMERINDEX_TIMER_C, HRTIM_OUTPUT_TC2, &pOutputCfg) != HAL_OK)
  {
    Error_Handler();
  }
  if (HAL_HRTIM_WaveformOutputConfig(&hhrtim1, HRTIM_TIMERINDEX_TIMER_D, HRTIM_OUTPUT_TD2, &pOutputCfg) != HAL_OK)
  {
    Error_Handler();
  }
  if (HAL_HRTIM_WaveformOutputConfig(&hhrtim1, HRTIM_TIMERINDEX_TIMER_E, HRTIM_OUTPUT_TE2, &pOutputCfg) != HAL_OK)
  {
    Error_Handler();
  }
  if (HAL_HRTIM_WaveformOutputConfig(&hhrtim1, HRTIM_TIMERINDEX_TIMER_F, HRTIM_OUTPUT_TF2, &pOutputCfg) != HAL_OK)
  {
    Error_Handler();
  }
  if (HAL_HRTIM_TimeBaseConfig(&hhrtim1, HRTIM_TIMERINDEX_TIMER_B, &pTimeBaseCfg) != HAL_OK)
  {
    Error_Handler();
  }
  if (HAL_HRTIM_WaveformTimerControl(&hhrtim1, HRTIM_TIMERINDEX_TIMER_B, &pTimerCtl) != HAL_OK)
  {
    Error_Handler();
  }
  if (HAL_HRTIM_WaveformCompareConfig(&hhrtim1, HRTIM_TIMERINDEX_TIMER_B, HRTIM_COMPAREUNIT_1, &pCompareCfg) != HAL_OK)
  {
    Error_Handler();
  }
  if (HAL_HRTIM_TimeBaseConfig(&hhrtim1, HRTIM_TIMERINDEX_TIMER_C, &pTimeBaseCfg) != HAL_OK)
  {
    Error_Handler();
  }
  if (HAL_HRTIM_WaveformTimerControl(&hhrtim1, HRTIM_TIMERINDEX_TIMER_C, &pTimerCtl) != HAL_OK)
  {
    Error_Handler();
  }
  if (HAL_HRTIM_WaveformCompareConfig(&hhrtim1, HRTIM_TIMERINDEX_TIMER_C, HRTIM_COMPAREUNIT_1, &pCompareCfg) != HAL_OK)
  {
    Error_Handler();
  }
  if (HAL_HRTIM_TimeBaseConfig(&hhrtim1, HRTIM_TIMERINDEX_TIMER_D, &pTimeBaseCfg) != HAL_OK)
  {
    Error_Handler();
  }
  if (HAL_HRTIM_WaveformTimerControl(&hhrtim1, HRTIM_TIMERINDEX_TIMER_D, &pTimerCtl) != HAL_OK)
  {
    Error_Handler();
  }
  if (HAL_HRTIM_WaveformCompareConfig(&hhrtim1, HRTIM_TIMERINDEX_TIMER_D, HRTIM_COMPAREUNIT_1, &pCompareCfg) != HAL_OK)
  {
    Error_Handler();
  }
  if (HAL_HRTIM_TimeBaseConfig(&hhrtim1, HRTIM_TIMERINDEX_TIMER_E, &pTimeBaseCfg) != HAL_OK)
  {
    Error_Handler();
  }
  if (HAL_HRTIM_WaveformTimerControl(&hhrtim1, HRTIM_TIMERINDEX_TIMER_E, &pTimerCtl) != HAL_OK)
  {
    Error_Handler();
  }
  pCompareCfg.CompareValue = 0xFFDF;
  if (HAL_HRTIM_WaveformCompareConfig(&hhrtim1, HRTIM_TIMERINDEX_TIMER_E, HRTIM_COMPAREUNIT_1, &pCompareCfg) != HAL_OK)
  {
    Error_Handler();
  }
  if (HAL_HRTIM_TimeBaseConfig(&hhrtim1, HRTIM_TIMERINDEX_TIMER_F, &pTimeBaseCfg) != HAL_OK)
  {
    Error_Handler();
  }
  if (HAL_HRTIM_WaveformTimerControl(&hhrtim1, HRTIM_TIMERINDEX_TIMER_F, &pTimerCtl) != HAL_OK)
  {
    Error_Handler();
  }
  pCompareCfg.CompareValue = 0xFFFB;
  if (HAL_HRTIM_WaveformCompareConfig(&hhrtim1, HRTIM_TIMERINDEX_TIMER_F, HRTIM_COMPAREUNIT_1, &pCompareCfg) != HAL_OK)
  {
    Error_Handler();
  }
  HAL_HRTIM_MspPostInit(&hhrtim1);

}

static void MX_SPI1_Init(void)
{

  /* SPI1 parameter configuration*/
  hspi1.Instance = SPI1;
  hspi1.Init.Mode = SPI_MODE_MASTER;
  hspi1.Init.Direction = SPI_DIRECTION_2LINES;
  hspi1.Init.DataSize = SPI_DATASIZE_8BIT;
  hspi1.Init.CLKPolarity = SPI_POLARITY_HIGH;
  hspi1.Init.CLKPhase = SPI_PHASE_2EDGE;
  hspi1.Init.NSS = SPI_NSS_SOFT;
  hspi1.Init.BaudRatePrescaler = SPI_BAUDRATEPRESCALER_16;
  hspi1.Init.FirstBit = SPI_FIRSTBIT_MSB;
  hspi1.Init.TIMode = SPI_TIMODE_DISABLE;
  hspi1.Init.CRCCalculation = SPI_CRCCALCULATION_DISABLE;
  hspi1.Init.CRCPolynomial = 7;
  hspi1.Init.CRCLength = SPI_CRC_LENGTH_DATASIZE;
  hspi1.Init.NSSPMode = SPI_NSS_PULSE_DISABLE;
  if (HAL_SPI_Init(&hspi1) != HAL_OK)
  {
    Error_Handler();
  }

}

static void MX_TIM3_Init(void)
{

  TIM_Encoder_InitTypeDef sConfig = {0};
  TIM_MasterConfigTypeDef sMasterConfig = {0};

  htim3.Instance = TIM3;
  htim3.Init.Prescaler = 0;
  htim3.Init.CounterMode = TIM_COUNTERMODE_UP;
  htim3.Init.Period = 65535;
  htim3.Init.ClockDivision = TIM_CLOCKDIVISION_DIV1;
  htim3.Init.AutoReloadPreload = TIM_AUTORELOAD_PRELOAD_DISABLE;
  sConfig.EncoderMode = TIM_ENCODERMODE_TI1;
  sConfig.IC1Polarity = TIM_ICPOLARITY_RISING;
  sConfig.IC1Selection = TIM_ICSELECTION_DIRECTTI;
  sConfig.IC1Prescaler = TIM_ICPSC_DIV1;
  sConfig.IC1Filter = 0;
  sConfig.IC2Polarity = TIM_ICPOLARITY_RISING;
  sConfig.IC2Selection = TIM_ICSELECTION_DIRECTTI;
  sConfig.IC2Prescaler = TIM_ICPSC_DIV1;
  sConfig.IC2Filter = 0;
  if (HAL_TIM_Encoder_Init(&htim3, &sConfig) != HAL_OK)
  {
    Error_Handler();
  }
  sMasterConfig.MasterOutputTrigger = TIM_TRGO_RESET;
  sMasterConfig.MasterSlaveMode = TIM_MASTERSLAVEMODE_DISABLE;
  if (HAL_TIMEx_MasterConfigSynchronization(&htim3, &sMasterConfig) != HAL_OK)
  {
    Error_Handler();
  }

}

static void MX_TIM8_Init(void)
{

  TIM_ClockConfigTypeDef sClockSourceConfig = {0};
  TIM_MasterConfigTypeDef sMasterConfig = {0};

  htim8.Instance = TIM8;
  htim8.Init.Prescaler = 15;
  htim8.Init.CounterMode = TIM_COUNTERMODE_UP;
  htim8.Init.Period = 999;
  htim8.Init.ClockDivision = TIM_CLOCKDIVISION_DIV1;
  htim8.Init.RepetitionCounter = 0;
  htim8.Init.AutoReloadPreload = TIM_AUTORELOAD_PRELOAD_DISABLE;
  if (HAL_TIM_Base_Init(&htim8) != HAL_OK)
  {
    Error_Handler();
  }
  sClockSourceConfig.ClockSource = TIM_CLOCKSOURCE_INTERNAL;
  if (HAL_TIM_ConfigClockSource(&htim8, &sClockSourceConfig) != HAL_OK)
  {
    Error_Handler();
  }
  sMasterConfig.MasterOutputTrigger = TIM_TRGO_RESET;
  sMasterConfig.MasterOutputTrigger2 = TIM_TRGO2_RESET;
  sMasterConfig.MasterSlaveMode = TIM_MASTERSLAVEMODE_DISABLE;
  if (HAL_TIMEx_MasterConfigSynchronization(&htim8, &sMasterConfig) != HAL_OK)
  {
    Error_Handler();
  }

}

static void MX_TIM17_Init(void)
{

  htim17.Instance = TIM17;
  htim17.Init.Prescaler = 169;
  htim17.Init.CounterMode = TIM_COUNTERMODE_UP;
  htim17.Init.Period = 999;
  htim17.Init.ClockDivision = TIM_CLOCKDIVISION_DIV1;
  htim17.Init.RepetitionCounter = 0;
  htim17.Init.AutoReloadPreload = TIM_AUTORELOAD_PRELOAD_DISABLE;
  if (HAL_TIM_Base_Init(&htim17) != HAL_OK)
  {
    Error_Handler();
  }

}

static void MX_USART1_UART_Init(void)
{

  huart1.Instance = USART1;
  huart1.Init.BaudRate = 460800;
  huart1.Init.WordLength = UART_WORDLENGTH_8B;
  huart1.Init.StopBits = UART_STOPBITS_1;
  huart1.Init.Parity = UART_PARITY_NONE;
  huart1.Init.Mode = UART_MODE_TX_RX;
  huart1.Init.HwFlowCtl = UART_HWCONTROL_NONE;
  huart1.Init.OverSampling = UART_OVERSAMPLING_16;
  huart1.Init.OneBitSampling = UART_ONE_BIT_SAMPLE_DISABLE;
  huart1.Init.ClockPrescaler = UART_PRESCALER_DIV1;
  huart1.AdvancedInit.AdvFeatureInit = UART_ADVFEATURE_NO_INIT;
  if (HAL_UART_Init(&huart1) != HAL_OK)
  {
    Error_Handler();
  }
  if (HAL_UARTEx_SetTxFifoThreshold(&huart1, UART_TXFIFO_THRESHOLD_1_8) != HAL_OK)
  {
    Error_Handler();
  }
  if (HAL_UARTEx_SetRxFifoThreshold(&huart1, UART_RXFIFO_THRESHOLD_1_8) != HAL_OK)
  {
    Error_Handler();
  }
  if (HAL_UARTEx_DisableFifoMode(&huart1) != HAL_OK)
  {
    Error_Handler();
  }

}

static void MX_DMA_Init(void)
{

  /* DMA controller clock enable */
  __HAL_RCC_DMAMUX1_CLK_ENABLE();
  __HAL_RCC_DMA1_CLK_ENABLE();

  /* DMA interrupt init */
  /* DMA1_Channel1_IRQn interrupt configuration */
  HAL_NVIC_SetPriority(DMA1_Channel1_IRQn, 0, 0);
  HAL_NVIC_EnableIRQ(DMA1_Channel1_IRQn);
  /* DMA1_Channel2_IRQn interrupt configuration */
  HAL_NVIC_SetPriority(DMA1_Channel2_IRQn, 0, 0);
  HAL_NVIC_EnableIRQ(DMA1_Channel2_IRQn);
  /* DMA1_Channel4_IRQn interrupt configuration */
  HAL_NVIC_SetPriority(DMA1_Channel4_IRQn, 9, 0);
  HAL_NVIC_EnableIRQ(DMA1_Channel4_IRQn);
  /* DMA1_Channel5_IRQn interrupt configuration */
  HAL_NVIC_SetPriority(DMA1_Channel5_IRQn, 9, 0);
  HAL_NVIC_EnableIRQ(DMA1_Channel5_IRQn);

}

static void MX_GPIO_Init(void)
{
  GPIO_InitTypeDef GPIO_InitStruct = {0};

  /* GPIO Ports Clock Enable */
  __HAL_RCC_GPIOF_CLK_ENABLE();
  __HAL_RCC_GPIOA_CLK_ENABLE();
  __HAL_RCC_GPIOC_CLK_ENABLE();
  __HAL_RCC_GPIOB_CLK_ENABLE();

  /*Configure GPIO pin Output Level */
  HAL_GPIO_WritePin(GPIOA, SPI1_NSS1_Pin|SPI1_NSS2_Pin, GPIO_PIN_RESET);

  /*Configure GPIO pins : SPI1_NSS1_Pin SPI1_NSS2_Pin */
  GPIO_InitStruct.Pin = SPI1_NSS1_Pin|SPI1_NSS2_Pin;
  GPIO_InitStruct.Mode = GPIO_MODE_OUTPUT_PP;
  GPIO_InitStruct.Pull = GPIO_PULLUP;
  GPIO_InitStruct.Speed = GPIO_SPEED_FREQ_LOW;
  HAL_GPIO_Init(GPIOA, &GPIO_InitStruct);

  /*Configure GPIO pin : PB7 */
  GPIO_InitStruct.Pin = GPIO_PIN_7;
  GPIO_InitStruct.Mode = GPIO_MODE_INPUT;
  GPIO_InitStruct.Pull = GPIO_PULLUP;
  HAL_GPIO_Init(GPIOB, &GPIO_InitStruct);

}

/* USER CODE BEGIN 4 */
/**
 * @brief  SPI DMA 收发完成回调
 *         → 解析编码器 → SPWM 或 Motor 处理
 */
void HAL_SPI_TxRxCpltCallback(SPI_HandleTypeDef *hspi)
{
    if (hspi->Instance == SPI1)
    {
    MT6826_HandleTypeDef *completed = g_spi1_dma_owner;

    if (completed == NULL)
    {
      return;
    }

    g_spi1_dma_owner = NULL;
    MT6826_DMACompleteCallback(completed);

    if (completed == &hencoder1)
    {
      if (hspwm1.enabled)
        SPWM_EncoderReadCompleteCallback(&hspwm1);
      else
        Motor_EncoderReadCompleteCallback(&hmotor1);
    }
    else if (completed == &hencoder2)
    {
      if (hspwm2.enabled)
        SPWM_EncoderReadCompleteCallback(&hspwm2);
      else
        Motor_EncoderReadCompleteCallback(&hmotor2);
    }

    Encoder_ServicePendingSpi1Dma();
    }
}

/**
 * @brief  HRTIM 定时器周期完成回调 → 启动编码器 SPI-DMA 读取
 */
void HAL_HRTIM_RepetitionEventCallback(HRTIM_HandleTypeDef *hhrtim,
                                       uint32_t TimerIdx)
{
  if (hhrtim->Instance != HRTIM1)
  {
    return;
  }

  if ((TimerIdx == HRTIM_TIMERINDEX_TIMER_A) && (hmotor1.running != 0u))
    {
    Encoder_RequestRead(&hencoder1);
  }
  else if ((TimerIdx == HRTIM_TIMERINDEX_TIMER_D) && (hmotor2.running != 0u))
  {
    Encoder_RequestRead(&hencoder2);
    }
}

/**
 * @brief  TIM17 周期中断回调 → PID 位置环计算 (1 kHz)
 *         TIM8  周期中断回调 → UI FireWater 数据流 (~10.6 kHz)
 */
void HAL_TIM_PeriodElapsedCallback(TIM_HandleTypeDef *htim)
{
    if (htim->Instance == TIM17)
    {
    SPWM_PIDCallback(&hspwm1);
    SPWM_PIDCallback(&hspwm2);
    }
    else if (htim->Instance == TIM8)
    {
        UI_TIM8Callback(&hui);
    }
}

/**
 * @brief  UART DMA 发送完成回调 → 释放 UI DMA 锁
 */
void HAL_UART_TxCpltCallback(UART_HandleTypeDef *huart)
{
    if (huart->Instance == USART1)
    {
        UI_TxCpltCallback(&hui);
    }
}
/* USER CODE END 4 */

void Error_Handler(void)
{
  __disable_irq();
  while (1)
  {
  }
}
